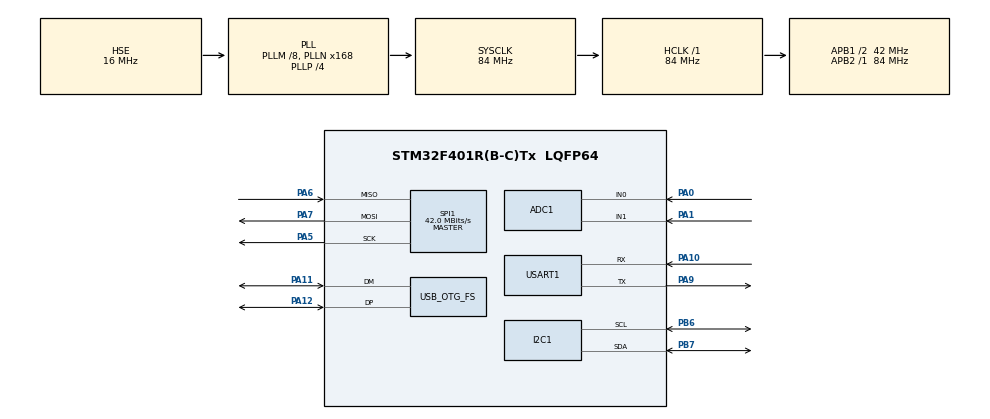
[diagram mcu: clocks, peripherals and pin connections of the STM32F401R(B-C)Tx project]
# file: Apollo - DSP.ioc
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ADC1.Channel-0\#ChannelRegularConversion=ADC_CHANNEL_0
ADC1.NbrOfConversionFlag=1
ADC1.Rank-0\#ChannelRegularConversion=1
ADC1.SamplingTime-0\#ChannelRegularConversion=ADC_SAMPLETIME_3CYCLES
ADC1.master=1
Dma.ADC1.0.Direction=DMA_PERIPH_TO_MEMORY
Dma.ADC1.0.FIFOMode=DMA_FIFOMODE_DISABLE
Dma.ADC1.0.Instance=DMA2_Stream0
Dma.ADC1.0.MemDataAlignment=DMA_MDATAALIGN_HALFWORD
Dma.ADC1.0.MemInc=DMA_MINC_ENABLE
Dma.ADC1.0.Mode=DMA_NORMAL
Dma.ADC1.0.PeriphDataAlignment=DMA_PDATAALIGN_HALFWORD
Dma.ADC1.0.PeriphInc=DMA_PINC_DISABLE
Dma.ADC1.0.Priority=DMA_PRIORITY_LOW
Dma.Request0=ADC1
Mcu.Family=STM32F4
Mcu.Name=STM32F401R(B-C)Tx
Mcu.Package=LQFP64
NVIC.DMA2_Stream0_IRQn=true\:0\:0\:false\:false\:true\:false\:true\:true
NVIC.OTG_FS_IRQn=true\:0\:0\:false\:false\:true\:false\:true\:true
NVIC.PriorityGroup=NVIC_PRIORITYGROUP_4
PA0-WKUP.Signal=ADCx_IN0
PA1.Signal=ADCx_IN1
PA10.Mode=Asynchronous
PA10.Signal=USART1_RX
PA11.Mode=Device_Only
PA11.Signal=USB_OTG_FS_DM
PA12.Mode=Device_Only
PA12.Signal=USB_OTG_FS_DP
PA13.Mode=Serial_Wire
PA13.Signal=SYS_JTMS-SWDIO
PA14.Mode=Serial_Wire
PA14.Signal=SYS_JTCK-SWCLK
PA5.Mode=Full_Duplex_Master
PA5.Signal=SPI1_SCK
PA6.Mode=Full_Duplex_Master
PA6.Signal=SPI1_MISO
PA7.Mode=Full_Duplex_Master
PA7.Signal=SPI1_MOSI
PA9.Mode=Asynchronous
PA9.Signal=USART1_TX
PB6.Mode=I2C
PB6.Signal=I2C1_SCL
PB7.Mode=I2C
PB7.Signal=I2C1_SDA
PH0\ -\ OSC_IN.Mode=HSE-External-Oscillator
PH0\ -\ OSC_IN.Signal=RCC_OSC_IN
PH1\ -\ OSC_OUT.Mode=HSE-External-Oscillator
PH1\ -\ OSC_OUT.Signal=RCC_OSC_OUT
ProjectManager.HeapSize=0x200
ProjectManager.StackSize=0x400
ProjectManager.TargetToolchain=STM32CubeIDE
RCC.48MHZClocksFreq_Value=48000000
RCC.AHBFreq_Value=84000000
RCC.APB1CLKDivider=RCC_HCLK_DIV2
RCC.APB1Freq_Value=42000000
RCC.APB1TimFreq_Value=84000000
RCC.APB2Freq_Value=84000000
RCC.APB2TimFreq_Value=84000000
RCC.CortexFreq_Value=84000000
RCC.HCLKFreq_Value=84000000
RCC.HSE_VALUE=16000000
RCC.HSI_VALUE=16000000
RCC.LSE_VALUE=32768
RCC.PLLM=8
RCC.PLLN=168
RCC.PLLP=RCC_PLLP_DIV4
RCC.PLLQ=7
RCC.SYSCLKFreq_VALUE=84000000
RCC.SYSCLKSource=RCC_SYSCLKSOURCE_PLLCLK
RCC.VCOOutputFreq_Value=336000000
SH.ADCx_IN0.0=ADC1_IN0,IN0
SH.ADCx_IN1.0=ADC1_IN1,IN1
SPI1.BaudRatePrescaler=SPI_BAUDRATEPRESCALER_2
SPI1.CalculateBaudRate=42.0 MBits/s
SPI1.Direction=SPI_DIRECTION_2LINES
SPI1.Mode=SPI_MODE_MASTER
SPI1.VirtualType=VM_MASTER
USART1.VirtualMode=VM_ASYNC
USB_DEVICE.CLASS_NAME_FS=CDC
USB_DEVICE.VirtualMode=Cdc
USB_DEVICE.VirtualModeFS=Cdc_FS
USB_OTG_FS.VirtualMode=Device_Only
VP_USB_DEVICE_VS_USB_DEVICE_CDC_FS.Mode=CDC_FS
board=custom

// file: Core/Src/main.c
/* USER CODE BEGIN Header */
/**
  ******************************************************************************
  * @file           : main.c
  * @brief          : Main program body
  ******************************************************************************
  * @attention
  *
  * Copyright (c) 2023 STMicroelectronics.
  * All rights reserved.
  *
  * This software is licensed under terms that can be found in the LICENSE file
  * in the root directory of this software component.
  * If no LICENSE file comes with this software, it is provided AS-IS.
  *
  ******************************************************************************
  */
/* USER CODE END Header */
#include "main.h"
#include "usb_device.h"

/* USER CODE BEGIN Includes */
#include "app/apollo_app.h"
#include "drivers/sd_card.h"
#include "drivers/sram_23k256.h"
/* USER CODE END Includes */

ADC_HandleTypeDef hadc1;
DMA_HandleTypeDef hdma_adc1;

I2C_HandleTypeDef hi2c1;

SPI_HandleTypeDef hspi1;

UART_HandleTypeDef huart1;

/* USER CODE BEGIN PV */
static apollo_app_t apollo_app;
/* USER CODE END PV */

void SystemClock_Config(void);
static void MX_GPIO_Init(void);
static void MX_DMA_Init(void);
static void MX_ADC1_Init(void);
static void MX_I2C1_Init(void);
static void MX_SPI1_Init(void);
static void MX_USART1_UART_Init(void);

int main(void)
{
  /* USER CODE BEGIN 1 */
	apollo_app_handles_t apollo_handles;
  /* USER CODE END 1 */

  /* MCU Configuration--------------------------------------------------------*/

  /* Reset of all peripherals, Initializes the Flash interface and the Systick. */
  HAL_Init();

  /* Configure the system clock */
  SystemClock_Config();

  /* Initialize all configured peripherals */
  MX_GPIO_Init();
  MX_DMA_Init();
  MX_ADC1_Init();
  MX_I2C1_Init();
  MX_SPI1_Init();
  MX_USART1_UART_Init();
  MX_USB_DEVICE_Init();
  /* USER CODE BEGIN 2 */
  apollo_handles.adc = &hadc1;
  apollo_handles.dac_i2c = &hi2c1;
  apollo_handles.sram_spi = &hspi1;
  apollo_handles.uart = &huart1;
  (void)apollo_app_init(&apollo_app, &apollo_handles);
  /* USER CODE END 2 */

  /* Infinite loop */
  while (1)
  {

    /* USER CODE BEGIN 3 */
	apollo_app_task(&apollo_app);
  }
  /* USER CODE END 3 */
}

void SystemClock_Config(void)
{
  RCC_OscInitTypeDef RCC_OscInitStruct = {0};
  RCC_ClkInitTypeDef RCC_ClkInitStruct = {0};

  /** Configure the main internal regulator output voltage
  */
  __HAL_RCC_PWR_CLK_ENABLE();
  __HAL_PWR_VOLTAGESCALING_CONFIG(PWR_REGULATOR_VOLTAGE_SCALE2);

  /** Initializes the RCC Oscillators according to the specified parameters
  * in the RCC_OscInitTypeDef structure.
  */
  RCC_OscInitStruct.OscillatorType = RCC_OSCILLATORTYPE_HSE;
  RCC_OscInitStruct.HSEState = RCC_HSE_ON;
  RCC_OscInitStruct.PLL.PLLState = RCC_PLL_ON;
  RCC_OscInitStruct.PLL.PLLSource = RCC_PLLSOURCE_HSE;
  RCC_OscInitStruct.PLL.PLLM = 8;
  RCC_OscInitStruct.PLL.PLLN = 168;
  RCC_OscInitStruct.PLL.PLLP = RCC_PLLP_DIV4;
  RCC_OscInitStruct.PLL.PLLQ = 7;
  if (HAL_RCC_OscConfig(&RCC_OscInitStruct) != HAL_OK)
  {
    Error_Handler();
  }

  /** Initializes the CPU, AHB and APB buses clocks
  */
  RCC_ClkInitStruct.ClockType = RCC_CLOCKTYPE_HCLK|RCC_CLOCKTYPE_SYSCLK
                              |RCC_CLOCKTYPE_PCLK1|RCC_CLOCKTYPE_PCLK2;
  RCC_ClkInitStruct.SYSCLKSource = RCC_SYSCLKSOURCE_PLLCLK;
  RCC_ClkInitStruct.AHBCLKDivider = RCC_SYSCLK_DIV1;
  RCC_ClkInitStruct.APB1CLKDivider = RCC_HCLK_DIV2;
  RCC_ClkInitStruct.APB2CLKDivider = RCC_HCLK_DIV1;

  if (HAL_RCC_ClockConfig(&RCC_ClkInitStruct, FLASH_LATENCY_2) != HAL_OK)
  {
    Error_Handler();
  }
}

static void MX_ADC1_Init(void)
{

  ADC_ChannelConfTypeDef sConfig = {0};

  /** Configure the global features of the ADC (Clock, Resolution, Data Alignment and number of conversion)
  */
  hadc1.Instance = ADC1;
  hadc1.Init.ClockPrescaler = ADC_CLOCK_SYNC_PCLK_DIV4;
  hadc1.Init.Resolution = ADC_RESOLUTION_12B;
  hadc1.Init.ScanConvMode = DISABLE;
  hadc1.Init.ContinuousConvMode = DISABLE;
  hadc1.Init.DiscontinuousConvMode = DISABLE;
  hadc1.Init.ExternalTrigConvEdge = ADC_EXTERNALTRIGCONVEDGE_NONE;
  hadc1.Init.ExternalTrigConv = ADC_SOFTWARE_START;
  hadc1.Init.DataAlign = ADC_DATAALIGN_RIGHT;
  hadc1.Init.NbrOfConversion = 1;
  hadc1.Init.DMAContinuousRequests = DISABLE;
  hadc1.Init.EOCSelection = ADC_EOC_SINGLE_CONV;
  if (HAL_ADC_Init(&hadc1) != HAL_OK)
  {
    Error_Handler();
  }

  /** Configure for the selected ADC regular channel its corresponding rank in the sequencer and its sample time.
  */
  sConfig.Channel = ADC_CHANNEL_0;
  sConfig.Rank = 1;
  sConfig.SamplingTime = ADC_SAMPLETIME_3CYCLES;
  if (HAL_ADC_ConfigChannel(&hadc1, &sConfig) != HAL_OK)
  {
    Error_Handler();
  }

}

static void MX_I2C1_Init(void)
{

  hi2c1.Instance = I2C1;
  hi2c1.Init.ClockSpeed = 100000;
  hi2c1.Init.DutyCycle = I2C_DUTYCYCLE_2;
  hi2c1.Init.OwnAddress1 = 0;
  hi2c1.Init.AddressingMode = I2C_ADDRESSINGMODE_7BIT;
  hi2c1.Init.DualAddressMode = I2C_DUALADDRESS_DISABLE;
  hi2c1.Init.OwnAddress2 = 0;
  hi2c1.Init.GeneralCallMode = I2C_GENERALCALL_DISABLE;
  hi2c1.Init.NoStretchMode = I2C_NOSTRETCH_DISABLE;
  if (HAL_I2C_Init(&hi2c1) != HAL_OK)
  {
    Error_Handler();
  }

}

static void MX_SPI1_Init(void)
{

  /* SPI1 parameter configuration*/
  hspi1.Instance = SPI1;
  hspi1.Init.Mode = SPI_MODE_MASTER;
  hspi1.Init.Direction = SPI_DIRECTION_2LINES;
  hspi1.Init.DataSize = SPI_DATASIZE_8BIT;
  hspi1.Init.CLKPolarity = SPI_POLARITY_LOW;
  hspi1.Init.CLKPhase = SPI_PHASE_1EDGE;
  hspi1.Init.NSS = SPI_NSS_SOFT;
  hspi1.Init.BaudRatePrescaler = SPI_BAUDRATEPRESCALER_2;
  hspi1.Init.FirstBit = SPI_FIRSTBIT_MSB;
  hspi1.Init.TIMode = SPI_TIMODE_DISABLE;
  hspi1.Init.CRCCalculation = SPI_CRCCALCULATION_DISABLE;
  hspi1.Init.CRCPolynomial = 10;
  if (HAL_SPI_Init(&hspi1) != HAL_OK)
  {
    Error_Handler();
  }

}

static void MX_USART1_UART_Init(void)
{

  huart1.Instance = USART1;
  huart1.Init.BaudRate = 115200;
  huart1.Init.WordLength = UART_WORDLENGTH_8B;
  huart1.Init.StopBits = UART_STOPBITS_1;
  huart1.Init.Parity = UART_PARITY_NONE;
  huart1.Init.Mode = UART_MODE_TX_RX;
  huart1.Init.HwFlowCtl = UART_HWCONTROL_NONE;
  huart1.Init.OverSampling = UART_OVERSAMPLING_16;
  if (HAL_UART_Init(&huart1) != HAL_OK)
  {
    Error_Handler();
  }

}

static void MX_DMA_Init(void)
{

  /* DMA controller clock enable */
  __HAL_RCC_DMA2_CLK_ENABLE();

  /* DMA interrupt init */
  /* DMA2_Stream0_IRQn interrupt configuration */
  HAL_NVIC_SetPriority(DMA2_Stream0_IRQn, 0, 0);
  HAL_NVIC_EnableIRQ(DMA2_Stream0_IRQn);

}

static void MX_GPIO_Init(void)
{
/* USER CODE BEGIN MX_GPIO_Init_1 */
  GPIO_InitTypeDef GPIO_InitStruct = {0};
/* USER CODE END MX_GPIO_Init_1 */

  /* GPIO Ports Clock Enable */
  __HAL_RCC_GPIOH_CLK_ENABLE();
  __HAL_RCC_GPIOA_CLK_ENABLE();
  __HAL_RCC_GPIOB_CLK_ENABLE();

/* USER CODE BEGIN MX_GPIO_Init_2 */
  /* Both chip selects idle high before the SPI peripheral is used, so neither
     device is addressed while the bus settles. */
  HAL_GPIO_WritePin(SRAM_23K256_CS_GPIO_PORT, SRAM_23K256_CS_PIN, GPIO_PIN_SET);
  HAL_GPIO_WritePin(SD_CARD_CS_GPIO_PORT, SD_CARD_CS_PIN, GPIO_PIN_SET);

  GPIO_InitStruct.Pin = SRAM_23K256_CS_PIN;
  GPIO_InitStruct.Mode = GPIO_MODE_OUTPUT_PP;
  GPIO_InitStruct.Pull = GPIO_NOPULL;
  GPIO_InitStruct.Speed = GPIO_SPEED_FREQ_VERY_HIGH;
  HAL_GPIO_Init(SRAM_23K256_CS_GPIO_PORT, &GPIO_InitStruct);

  GPIO_InitStruct.Pin = SD_CARD_CS_PIN;
  GPIO_InitStruct.Mode = GPIO_MODE_OUTPUT_PP;
  GPIO_InitStruct.Pull = GPIO_NOPULL;
  GPIO_InitStruct.Speed = GPIO_SPEED_FREQ_VERY_HIGH;
  HAL_GPIO_Init(SD_CARD_CS_GPIO_PORT, &GPIO_InitStruct);
/* USER CODE END MX_GPIO_Init_2 */
}

void Error_Handler(void)
{
  __disable_irq();
  while (1)
  {
  }
}
